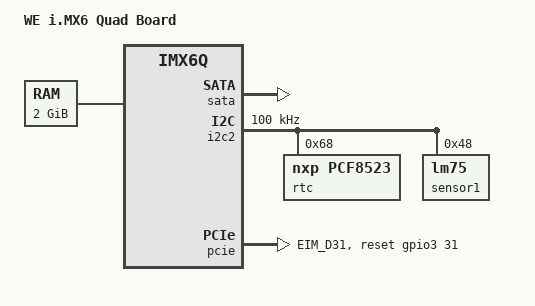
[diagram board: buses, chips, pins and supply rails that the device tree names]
/*
 * Copyright 2013 Freescale Semiconductor, Inc.
 *
 * Author: Fabio Estevam <fabio.estevam@freescale.com>
 *
 * This program is free software; you can redistribute it and/or modify
 * it under the terms of the GNU General Public License version 2 as
 * published by the Free Software Foundation.
 *
 */
/dts-v1/;
#include "imx6q.dtsi"
#include "imx6qdl-wandboard-revc1.dtsi"

/ {
	model = "WE i.MX6 Quad Board";
	compatible = "wand,imx6q-wandboard", "fsl,imx6q";

	memory {
		reg = <0x10000000 0x80000000>;
	};
};

&iomuxc {
	pinctrl-0 = <&pinctrl_hog>;
	
	pcie {
		pinctrl_pcie: pciegrp {
			fsl,pins = <
				/* Reset */
				MX6QDL_PAD_EIM_D31__GPIO3_IO31  0x80000000
			>;
		};
	};
};

&sata {
	status = "okay";
};

&codec {
	status = "disable";
};

&ssi1 {
	status = "disabled";
};

&i2c2 {
	clock-frequency = <100000>;
	pinctrl-names = "default";
	pinctrl-0 = <&pinctrl_i2c2>;
	status = "okay";
	
	codec: sgtl5000@0a {
		status = "disabled";
	};

	rtc: pcf8523@68 {
		compatible = "nxp,pcf8523";
		reg = <0x68>;
	};
	
	sensor1: lm75@48 {
		compatible = "lm75";
		reg = <0x48>;
	};
};

&pcie {
	status = "okay";
	pinctrl-names = "default";
	pinctrl-0 = <&pinctrl_pcie>;
	reset-gpio = <&gpio3 31 0>;
};

&snvs_rtc {
	status = "disabled";
};
